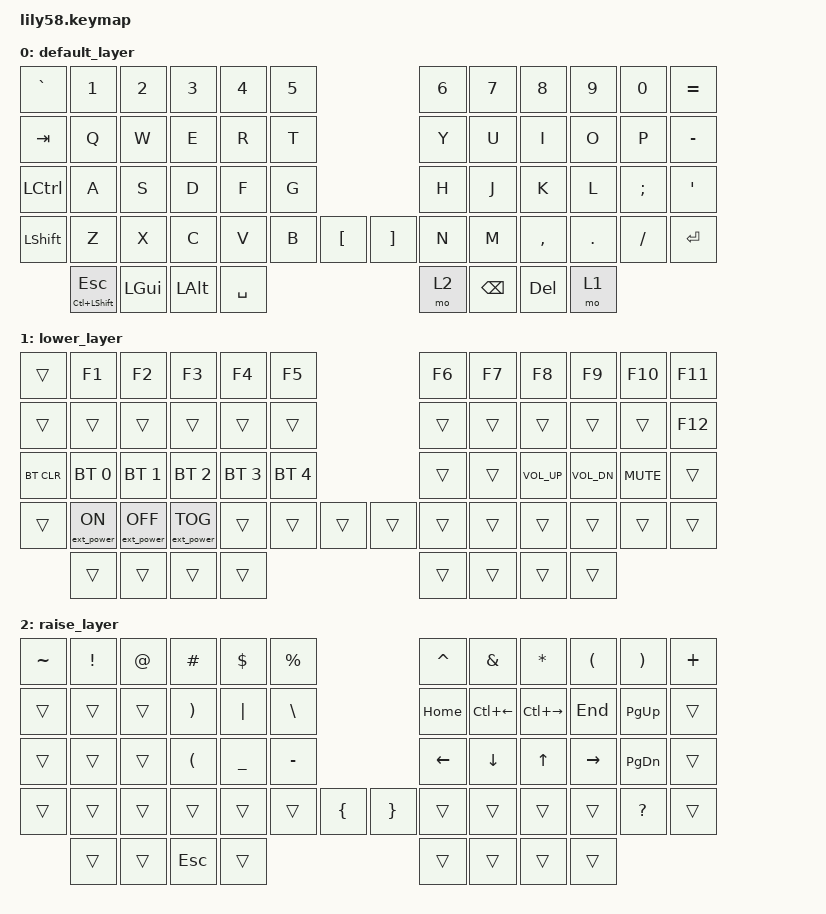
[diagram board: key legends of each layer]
/*
 * Copyright (c) 2020 The ZMK Contributors
 *
 * SPDX-License-Identifier: MIT
 */

#include <behaviors.dtsi>
#include <dt-bindings/zmk/keys.h>
#include <dt-bindings/zmk/bt.h>
#include <dt-bindings/zmk/ext_power.h>


/ {
	keymap {
		compatible = "zmk,keymap";

		default_layer {
			bindings = <
&kp GRAVE  &kp N1  &kp N2  &kp N3   &kp N4   &kp N5                       &kp N6   &kp N7   &kp N8     &kp N9   &kp N0    &kp EQUAL
&kp TAB    &kp Q   &kp W   &kp E    &kp R    &kp T                        &kp Y    &kp U    &kp I      &kp O    &kp P     &kp MINUS
&kp LCTRL  &kp A   &kp S   &kp D    &kp F    &kp G                        &kp H    &kp J    &kp K      &kp L    &kp SEMI     &kp APOS
&kp LSHFT  &kp Z   &kp X   &kp C    &kp V    &kp B  &kp LBKT     &kp RBKT &kp N    &kp M    &kp COMMA  &kp DOT  &kp FSLH  &kp RET
               &mt LC(LSHFT) ESC &kp LGUI    &kp LALT  &kp SPACE             &mo 2 &kp BSPC &kp DEL &mo 1
			>;
		};

		lower_layer {
			bindings = <
&trans      &kp F1            &kp F2             &kp F3             &kp F4        &kp F5                          &kp F6   &kp F7   &kp F8       &kp F9        &kp F10    &kp F11
&trans      &trans            &trans             &trans             &trans        &trans                          &trans   &trans   &trans       &trans        &trans     &kp F12
&bt BT_CLR  &bt BT_SEL 0      &bt BT_SEL 1       &bt BT_SEL 2       &bt BT_SEL 3  &bt BT_SEL 4                    &trans   &trans   &kp C_VOL_UP &kp C_VOL_DN  &kp C_MUTE &trans
&trans      &ext_power EP_ON  &ext_power EP_OFF  &ext_power EP_TOG  &trans        &trans        &trans    &trans  &trans   &trans   &trans       &trans        &trans     &trans
                                                 &trans             &trans        &trans        &trans    &trans  &trans   &trans   &trans
			>;
		};

		raise_layer {
			bindings = <
&kp TILDE  &kp EXCL  &kp AT    &kp HASH  &kp DOLLAR  &kp PRCNT                          &kp CARET  &kp AMPS      &kp STAR       &kp LPAR   &kp RPAR   &kp PLUS
&trans     &trans    &trans    &kp RPAR  &kp PIPE    &kp BSLH                           &kp HOME   &kp LC(LEFT)  &kp LC(RIGHT)  &kp END    &kp PG_UP  &trans
&trans     &trans    &trans    &kp LPAR  &kp UNDER   &kp MINUS                          &kp LEFT   &kp DOWN      &kp UP         &kp RIGHT  &kp PG_DN  &trans
&trans     &trans    &trans    &trans    &trans      &trans    &kp LBRC       &kp RBRC  &trans     &trans        &trans         &trans     &kp QMARK  &trans
                               &trans    &trans      &kp ESC   &trans         &trans  &trans     &trans        &trans
			>;
		};
	};
};
